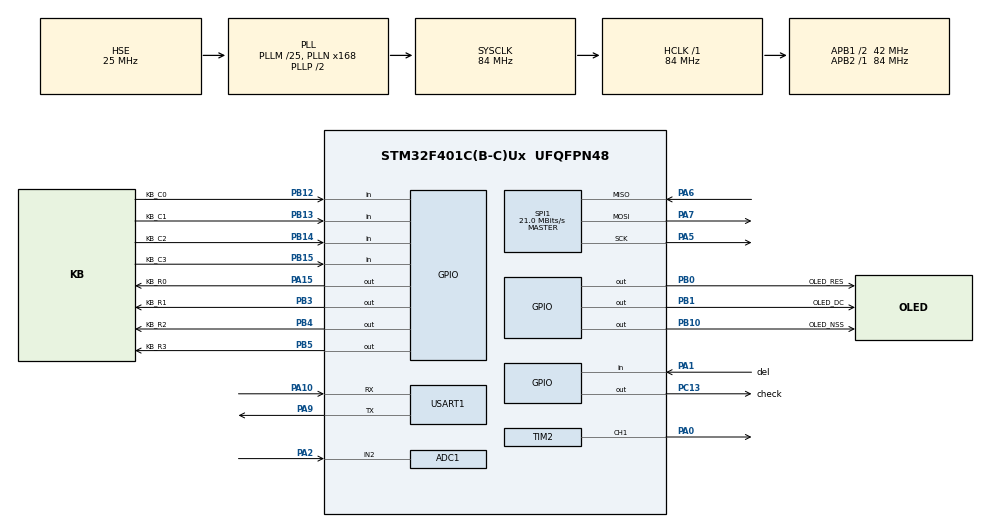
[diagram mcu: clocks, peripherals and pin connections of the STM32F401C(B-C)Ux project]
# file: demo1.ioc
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ADC1.Channel-0\#ChannelRegularConversion=ADC_CHANNEL_2
ADC1.ContinuousConvMode=DISABLE
ADC1.DMAContinuousRequests=ENABLE
ADC1.DiscontinuousConvMode=DISABLE
ADC1.EOCSelection=ADC_EOC_SINGLE_CONV
ADC1.ExternalTrigConv=ADC_EXTERNALTRIGCONV_T2_TRGO
ADC1.NbrOfConversion=1
ADC1.NbrOfConversionFlag=1
ADC1.Rank-0\#ChannelRegularConversion=1
ADC1.SamplingTime-0\#ChannelRegularConversion=ADC_SAMPLETIME_15CYCLES
ADC1.ScanConvMode=ENABLE
ADC1.master=1
Dma.ADC1.0.Direction=DMA_PERIPH_TO_MEMORY
Dma.ADC1.0.FIFOMode=DMA_FIFOMODE_DISABLE
Dma.ADC1.0.Instance=DMA2_Stream0
Dma.ADC1.0.MemDataAlignment=DMA_MDATAALIGN_WORD
Dma.ADC1.0.MemInc=DMA_MINC_ENABLE
Dma.ADC1.0.Mode=DMA_CIRCULAR
Dma.ADC1.0.PeriphDataAlignment=DMA_PDATAALIGN_WORD
Dma.ADC1.0.PeriphInc=DMA_PINC_DISABLE
Dma.ADC1.0.Priority=DMA_PRIORITY_HIGH
Dma.Request0=ADC1
Mcu.Family=STM32F4
Mcu.Name=STM32F401C(B-C)Ux
Mcu.Package=UFQFPN48
NVIC.DMA2_Stream0_IRQn=true\:0\:0\:true\:false\:true\:false\:true\:true
NVIC.PriorityGroup=NVIC_PRIORITYGROUP_4
NVIC.USART1_IRQn=true\:14\:0\:true\:false\:true\:true\:true\:true
PA0-WKUP.Signal=S_TIM2_CH1_ETR
PA1.GPIO_Label=del
PA1.GPIO_PuPd=GPIO_PULLUP
PA1.Signal=GPIO_Input
PA10.Mode=Asynchronous
PA10.Signal=USART1_RX
PA15.GPIO_Label=KB_R0
PA15.Signal=GPIO_Output
PA2.Signal=ADCx_IN2
PA5.Mode=Full_Duplex_Master
PA5.Signal=SPI1_SCK
PA6.Mode=Full_Duplex_Master
PA6.Signal=SPI1_MISO
PA7.Mode=Full_Duplex_Master
PA7.Signal=SPI1_MOSI
PA9.Mode=Asynchronous
PA9.Signal=USART1_TX
PB0.GPIO_Label=OLED_RES
PB0.Signal=GPIO_Output
PB1.GPIO_Label=OLED_DC
PB1.Signal=GPIO_Output
PB10.GPIO_Label=OLED_NSS
PB10.Signal=GPIO_Output
PB12.GPIO_Label=KB_C0
PB12.GPIO_PuPd=GPIO_PULLDOWN
PB12.Signal=GPIO_Input
PB13.GPIO_Label=KB_C1
PB13.GPIO_PuPd=GPIO_PULLDOWN
PB13.Signal=GPIO_Input
PB14.GPIO_Label=KB_C2
PB14.GPIO_PuPd=GPIO_PULLDOWN
PB14.Signal=GPIO_Input
PB15.GPIO_Label=KB_C3
PB15.GPIO_PuPd=GPIO_PULLDOWN
PB15.Signal=GPIO_Input
PB3.GPIO_Label=KB_R1
PB3.Signal=GPIO_Output
PB4.GPIO_Label=KB_R2
PB4.Signal=GPIO_Output
PB5.GPIO_Label=KB_R3
PB5.Signal=GPIO_Output
PC13-ANTI_TAMP.GPIO_Label=check
PC13-ANTI_TAMP.Signal=GPIO_Output
PH0\ -\ OSC_IN.Mode=HSE-External-Oscillator
PH0\ -\ OSC_IN.Signal=RCC_OSC_IN
PH1\ -\ OSC_OUT.Mode=HSE-External-Oscillator
PH1\ -\ OSC_OUT.Signal=RCC_OSC_OUT
ProjectManager.HeapSize=0x800
ProjectManager.StackSize=0x800
ProjectManager.TargetToolchain=STM32CubeIDE
RCC.48MHZClocksFreq_Value=42000000
RCC.AHBFreq_Value=84000000
RCC.APB1CLKDivider=RCC_HCLK_DIV2
RCC.APB1Freq_Value=42000000
RCC.APB1TimFreq_Value=84000000
RCC.APB2Freq_Value=84000000
RCC.APB2TimFreq_Value=84000000
RCC.CortexFreq_Value=84000000
RCC.HCLKFreq_Value=84000000
RCC.HSE_VALUE=25000000
RCC.HSI_VALUE=16000000
RCC.LSE_VALUE=32768
RCC.PLLM=25
RCC.PLLN=168
RCC.PLLSourceVirtual=RCC_PLLSOURCE_HSE
RCC.SYSCLKFreq_VALUE=84000000
RCC.SYSCLKSource=RCC_SYSCLKSOURCE_PLLCLK
RCC.VCOOutputFreq_Value=168000000
SH.ADCx_IN2.0=ADC1_IN2,IN2
SH.S_TIM2_CH1_ETR.0=TIM2_CH1,PWM Generation1 CH1
SPI1.BaudRatePrescaler=SPI_BAUDRATEPRESCALER_4
SPI1.CLKPhase=SPI_PHASE_2EDGE
SPI1.CLKPolarity=SPI_POLARITY_HIGH
SPI1.CalculateBaudRate=21.0 MBits/s
SPI1.Direction=SPI_DIRECTION_2LINES
SPI1.Mode=SPI_MODE_MASTER
SPI1.VirtualType=VM_MASTER
TIM2.AutoReloadPreload=TIM_AUTORELOAD_PRELOAD_ENABLE
TIM2.Channel-PWM\ Generation1\ CH1=TIM_CHANNEL_1
TIM2.Period=(84000/50)-1
TIM2.TIM_MasterOutputTrigger=TIM_TRGO_UPDATE
USART1.VirtualMode=VM_ASYNC
VP_TIM2_VS_ClockSourceINT.Mode=Internal
board=custom

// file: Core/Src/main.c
/* USER CODE BEGIN Header */

/**
  ******************************************************************************
  * @file           : main.c
  * @brief          : Main program body
  ******************************************************************************
  * @attention
  *
  * <h2><center>&copy; Copyright (c) 2021 STMicroelectronics.
  * All rights reserved.</center></h2>
  *
  * This software component is licensed by ST under BSD 3-Clause license,
  * the "License"; You may not use this file except in compliance with the
  * License. You may obtain a copy of the License at:
  *                        opensource.org/licenses/BSD-3-Clause
  *
  ******************************************************************************
  */
/* USER CODE END Header */
#include "main.h"
#include "adc.h"
#include "dma.h"
#include "spi.h"
#include "tim.h"
#include "usart.h"
#include "gpio.h"

/* USER CODE BEGIN Includes */
#include"u8g2.h"
#include <stdio.h>
#include<math.h>
#include <string.h>
#include <stdlib.h>
#include "uart_console.h"
/* USER CODE END Includes */

/* USER CODE BEGIN PV */
char rx_data[1000];
float sampleRate=11.851f,debug_duty=50;
volatile config_t config={
        .isConsoleEnable=1,
        .isPIDPrint=1,
        .isDebugPWM=0
};
uint32_t ADC_Value[10] = {0};
float duty = 0;
float V_cur = 0, V_set = 0;
u8g2_t u8g2;
//buffer starts
uint8_t first[14] = {0};
uint8_t second[14] = {0};
uint8_t resault[14] = {0};
char menu[16][2] = {
        "7", "8", "9", "/",
        "4", "5", "6", "x",
        "1", "2", "3", "-",
        "0", ".", "=", "+"
};
char sign[2];
uint8_t line = 1;
uint8_t model = 1;
uint8_t state = 1;
typedef enum {
    M_input = 1,
    M_output
} Mode;
int isOutput = 0;
//state表：
//  输入  1
//   +    2
//   -    3
//   x    4
//   /    5
//  输出  6
/* USER CODE END PV */

void SystemClock_Config(void);
/* USER CODE BEGIN PFP */
int UART_printf(UART_HandleTypeDef *huart, const char *fmt, ...);

uint8_t u8x8_stm32_gpio_and_delay(U8X8_UNUSED u8x8_t *u8x8,
                                  U8X8_UNUSED uint8_t msg,
                                  U8X8_UNUSED uint8_t arg_int,
                                  U8X8_UNUSED void *arg_ptr);

uint8_t u8x8_byte_4wire_hw_spi(u8x8_t *u8x8, uint8_t msg, uint8_t arg_int, void *arg_ptr);

char *strcat(char *destination, const char *source);

/* USER CODE END PFP */

/* USER CODE BEGIN 0 */
typedef struct {
    GPIO_TypeDef *GPIOx;
    uint16_t GPIO_Pin;
} GPIO_Pin_TypeDef;

GPIO_Pin_TypeDef keyboardRow[] = {
        {KB_R3_GPIO_Port, KB_R3_Pin},
        {KB_R2_GPIO_Port, KB_R2_Pin},
        {KB_R1_GPIO_Port, KB_R1_Pin},
        {KB_R0_GPIO_Port, KB_R0_Pin},
};

GPIO_Pin_TypeDef keyboardCol[] = {
        {KB_C3_GPIO_Port, KB_C3_Pin},
        {KB_C2_GPIO_Port, KB_C2_Pin},
        {KB_C1_GPIO_Port, KB_C1_Pin},
        {KB_C0_GPIO_Port, KB_C0_Pin},
};

uint32_t KeyboardScan(void) {
    uint32_t result = 0;
    for (int row = 0; row < sizeof(keyboardRow) / sizeof(GPIO_Pin_TypeDef); row++) {
        HAL_GPIO_WritePin(keyboardRow[row].GPIOx, keyboardRow[row].GPIO_Pin, GPIO_PIN_SET);
        for (int col = 0; col < sizeof(keyboardCol) / sizeof(GPIO_Pin_TypeDef); col++) {
            result <<= 1;
            result |= HAL_GPIO_ReadPin(keyboardCol[col].GPIOx, keyboardCol[col].GPIO_Pin) == GPIO_PIN_SET;
        }
        HAL_GPIO_WritePin(keyboardRow[row].GPIOx, keyboardRow[row].GPIO_Pin, GPIO_PIN_RESET);
    }

    return result;
}

//u8g2相关内容

void frame(u8g2_t *u8g2, uint8_t Vset_buf[], uint8_t Vout_buf[], float Vset, int model);

void frameutf8(u8g2_t *u8g2, uint8_t first[], uint8_t second[], uint8_t out[]);

uint8_t decode(uint16_t data, uint8_t pos);

void operate(uint8_t *first) {
    uint32_t index = KeyboardScan();

    while (KeyboardScan()) {

    }
    for (int i = 0; i < 16; i++) {
        if (index & (1 << i)) {
            strcat(first, menu[i]);
        }
    }

}

void countmodel(uint8_t *buffer) {
    int i = 0;
    while (buffer[i++]) {
        if (buffer[i] == '.')
            model = _float;
    }
}

int str2value_int(uint8_t *buffer) {
    int len = 0;
    int sum = 0;
    int i = 0;
    while (buffer[i++]) {

        sum = sum * 10 + buffer[i - 1] - '0';

    }
    return sum;
}

void value2str_int(uint8_t *buffer, int value) {
    int m, len = 0;
    if (value >= 0) {
        do {
            m = value % 10;
            len = 0;
            while (buffer[len++]);
            len--;
            for (; len > 0; len--) {
                buffer[len] = buffer[len - 1];
            }
            buffer[0] = m + '0';
            value /= 10;

        } while (value);
    } else {
        value = -value;
        do {
            m = value % 10;
            len = 0;
            while (buffer[len++]);
            len--;
            for (; len > 0; len--) {
                buffer[len] = buffer[len - 1];
            }
            buffer[0] = m + '0';
            value /= 10;

        } while (value);
        len = 0;
        while (buffer[len++]);
        len--;
        for (; len > 0; len--) {
            buffer[len] = buffer[len - 1];
        }
        buffer[0] = '-';

    }

}

//copy de demo
float str2value_float(char *num) {

    double n = 0, sign = 1, scale = 0;
    int subscale = 0, signsubscale = 1;

    if (*num == '-') {
        sign = -1, num++;    /* Has sign? */
    }

    while (*num == '0') {
        num++;
    }

    if (*num >= '1' && *num <= '9') {
        do {
            n = (n * 10.0) + (*num++ - '0');
        } while (*num >= '0' && *num <= '9');    /* Number? */
    }

    if (*num == '.' && num[1] >= '0' && num[1] <= '9') {
        num++;
        do {
            n = (n * 10.0) + (*num++ - '0'), scale--;
        } while (*num >= '0' && *num <= '9');
    }    /* Fractional part? */

    if (*num == 'e' || *num == 'E') {    /* Exponent? */
        num++;
        if (*num == '+') {
            num++;
        } else if (*num == '-') {
            signsubscale = -1, num++;        /* With sign? */
        }

        while (*num >= '0' && *num <= '9') {
            subscale = (subscale * 10) + (*num++ - '0');    /* Number? */
        }
    }

    n = sign * n *
        pow(10.0, (scale + subscale * signsubscale));    /* number = +/- number.fraction * 10^ +/- exponent */

    return n;
}

void value2str_float(char *buffer, float slope)  //浮点型数，存储的字符数组，字符数组的长度
{
    // buffer[0]=' ';
    int n = 13;
    int temp, i, j;
    if (slope < 0) {
        buffer[0] = '-';
        slope = -slope;
    }
    temp = (int) slope;//取整数部�?
    for (i = 0; temp != 0; i++)//计算整数部分的位�?
        temp /= 10;
    temp = (int) slope;

    for (j = i; j >= 0; j--)//将整数部分转换成字符串型
    {
        buffer[j] = temp % 10 + '0';
        temp /= 10;
    }

    buffer[i + 1] = '.';
    slope -= (int) slope;
    for (i = i + 2; i < n - 1; i++)//将小数部分转换成字符串型
    {
        slope *= 10;
        buffer[i] = (int) slope + '0';
        slope -= (int) slope;
    }
    buffer[n - 1] = '\0';
}

int iffloat(uint8_t *buffer) {
    int flag = 1, i = 0;
    while (buffer[i]) {
        if (buffer[i] == '.')
            flag = 0;
        i++;
    }

    return flag;
}

void del_key(uint8_t *buffer) {
    int i = 0;
    while (buffer[i++]);
    i--;
    if (i > 0)
        buffer[i - 1] = 0;
}

int getKeyboardIndex() {

//************uniform model select***********************

    int keyboard = KeyboardScan();

    for (int i = 0; i < 16; i++) {
        if (keyboard & (1 << i)) {
            return i;
        }
    }
//***************************************************************
}

int readline(char *line) {
    uint32_t index = KeyboardScan();

    while (KeyboardScan()) {

    }
    for (int i = 0; i < 16; i++) {
        if (index & (1 << i)) {
            strcat(line, menu[i]);
        }
    }

    if (!HAL_GPIO_ReadPin(del_GPIO_Port, del_Pin)) {
        while (!HAL_GPIO_ReadPin(del_GPIO_Port, del_Pin)) {

        }

        del_key(line);

    }
}

#define CLAMP(x, max, min) ((x < max) ? ((x > min) ? x : min) : max)
typedef struct {
    float A0;       /**< The derived gain, A0 = Kp + Ki + Kd . */
    float A1;       /**< The derived gain, A1 = -Kp - 2Kd. */
    float A2;       /**< The derived gain, A2 = Kd . */
    float state[3]; /**< The state array of length 3. */
    float Kp;       /**< The proportional gain. */
    float Ki;       /**< The integral gain. */
    float Kd;       /**< The derivative gain. */
} PID_t;

volatile PID_t pid_o_Vol = {
        .Kp = 0.5,
        .Ki = 0.005,
        .Kd = 0.00};

void pid_init(PID_t *S) {
    /* Derived coefficient A0 */
    S->A0 = S->Kp + S->Ki + S->Kd;
    /* Derived coefficient A1 */
    S->A1 = (-S->Kp) - ((float) 2.0f * S->Kd);
    /* Derived coefficient A2 */
    S->A2 = S->Kd;
}

float pid_process_o_Vol(PID_t *S, float aim, float current, float out_max, float out_min) {
    pid_init(S);
    float out;
    float in = aim - current;
    /* u[t] = u[t - 1] + A0 * e[t] + A1 * e[t - 1] + A2 * e[t - 2]  */
    out = (S->A0 * in) +
          (S->A1 * S->state[0]) + (S->A2 * S->state[1]) + (S->state[2]);
    /* Update state */
    S->state[1] = S->state[0];
    S->state[0] = in;
    S->state[2] = out;
    out = CLAMP(out, out_max, out_min);
    /* return to application */
    return (out);
}
int cmd_setPID(char *args){
#define  printf(...) UART_printf(&huart1,__VA_ARGS__)
    // paras
    char *arg1 = strtok(NULL, " ");
    if (arg1 == NULL)
    {
        printf("Usage: setPID kp ki kd (Vset)\n");
        return 0;
    }
    float kp = atoff(arg1);

    char *arg2 = strtok(NULL, " ");
    if (arg2 == NULL)
    {
        printf("Usage: setPID kp ki kd (Vset)\n");
        return -1;
    }
    float ki = atoff(arg2);

    char *arg3 = strtok(NULL, " ");
    if (arg3 == NULL)
    {
        printf("Usage: setPID kp ki kd (Vset)\n");
        return -1;
    }

    float kd = atoff(arg3);

    char *arg4 = strtok(NULL, " ");
    if (arg4 == NULL)
    {

    } else{

        float pid_aim = atoff(arg4);
        V_set=pid_aim;
    }

    pid_o_Vol.Kp=kp;
    pid_o_Vol.Kd=kd;
    pid_o_Vol.Ki=ki;
    printf("PID:kp=%f ki=%f kd=%f V_set=%.2f\n",pid_o_Vol.Kp,pid_o_Vol.Ki,pid_o_Vol.Kd,V_set);
    // do with addr&N

    return 0;
}
int cmd_systemctl(char *args){
    // paras
    int func_en=1;
    char *arg1 = strtok(NULL, " ");
    if (arg1 == NULL)
    {
        printf("Usage: systemctl enable/disable <func>\n");
        printf("<func>:\n"
               "    int isPIDPrint;\n"
               "    int isConsoleEnable;\n"
               "    int isDebugPWM;\n"
        );
        return 0;
    }
    //printf(arg1);
    if(strcmp(arg1,"enable")==0){
        func_en=1;
    } else if(strcmp(arg1,"disable")==0){
        func_en=0;
    } else{
        printf("Usage: systemctl enable/disable <func>\n");
        return -1;
    }
    //printf("func_en=%d\n",func_en);
    char *arg2 = strtok(NULL, " ");
    if (arg2 == NULL)
    {
        printf("Usage: systemctl enable/disable <func>\n");
        return -1;
    }

    if(strcmp(arg2,"PIDPrint")==0){
        if(func_en==1){
            config.isPIDPrint=1;
        } else{
            config.isPIDPrint=0;
        }
        return 0;
    }
    if(strcmp(arg2,"DebugPWM")==0){
        if(func_en==1){
            config.isDebugPWM=1;

            char *arg3 = strtok(NULL, " ");
            if (arg3 == NULL)
            {

            } else{
                debug_duty = atoff(arg3);
            }
        } else{
            config.isDebugPWM=0;
        }
        printf("config.isDebugPWM=%s",(config.isDebugPWM)?"true":"false");
        return 0;
    }

    printf("arg %s is not found\n",arg2);
    return -1;

}
int cmd_setSampleRate(char *args){
    // paras
    char *arg1 = strtok(NULL, " ");
    if (arg1 == NULL)
    {
        printf("Usage: setSampleRate <rate> (Vol=Vin*rate)\n");
        return 0;
    }
    float rate = atoff(arg1);
    sampleRate=rate;
    printf("sampleRate=%f\nVol=%.3f*Vin\n",sampleRate,sampleRate);
}
void HAL_ADC_ConvCpltCallback(ADC_HandleTypeDef *hadc) {
    V_cur = (float) ADC_Value[0] * 3.3f / 4096.0f *sampleRate;
    duty = (config.isDebugPWM)?(debug_duty):pid_process_o_Vol(&pid_o_Vol, V_set, V_cur, 95, 1);
    TIM2->CCR1 = (uint32_t)(((float) (TIM2->ARR + 1)) * duty/100.0f - 1.0f);
}
//空闲中断回调函数，参数Size为串口实际接收到数据字节数
void HAL_UARTEx_RxEventCallback(UART_HandleTypeDef *huart, uint16_t Size)
{
    if(huart->Instance==USART1)
    {
        //把收到的一包数据通过串口回传
        rx_data[Size]=0;
        UART_Console(rx_data);
        HAL_UART_Transmit(&huart1,rx_data,Size,0xff);

        //再次开启空闲中断接收，不然只会接收一次数据
        HAL_UARTEx_ReceiveToIdle_IT(&huart1,rx_data,1000);
    }
}
/* USER CODE END 0 */

int main(void)
{

  /* MCU Configuration--------------------------------------------------------*/

  /* Reset of all peripherals, Initializes the Flash interface and the Systick. */
  HAL_Init();

  /* Configure the system clock */
  SystemClock_Config();

  /* Initialize all configured peripherals */
  MX_GPIO_Init();
  MX_DMA_Init();
  MX_SPI1_Init();
  MX_USART1_UART_Init();
  MX_ADC1_Init();
  MX_TIM2_Init();
  /* USER CODE BEGIN 2 */
    u8g2_Setup_ssd1306_128x64_noname_f(&u8g2, U8G2_R0, u8x8_byte_4wire_hw_spi, u8x8_stm32_gpio_and_delay);
    u8g2_InitDisplay(&u8g2);
    u8g2_SetPowerSave(&u8g2, 0);
    HAL_TIM_Base_Start_IT(&htim2);
    HAL_TIM_PWM_Start(&htim2, TIM_CHANNEL_1);
    HAL_ADC_Start_DMA(&hadc1, (uint32_t *) ADC_Value, 1);
  /* USER CODE END 2 */

  /* Infinite loop */
  /* USER CODE BEGIN WHILE */
    HAL_GPIO_WritePin(check_GPIO_Port, check_Pin, 1);
    HAL_UARTEx_ReceiveToIdle_IT(&huart1,rx_data,1000);
    while (1) {
        //HAL_UART_Transmit(&huart1,"hhh",3,HAL_MAX_DELAY);
    /* USER CODE END WHILE */

    /* USER CODE BEGIN 3 */
        int keyboard = getKeyboardIndex();

        fsm_stateDirection:
        if (model == M_input) {
            if (menu[keyboard][0] == '=') {
                while (KeyboardScan()) {

                }
                V_set = str2value_float(first);
                first[0] = 0;
                model = M_output;
                goto display;
            }
        }
        if (model == M_output) {
            if (menu[keyboard][0] == '=') {
                while (KeyboardScan()) {

                }
                first[0] = 0;
                model = M_input;
                goto display;
            }
        }

        fsm_process:
        if (model == M_input)
            readline(first);

        else if (model == M_output) {

        }

//else if(state);

        display:
        if(config.isPIDPrint) {
            UART_printf(&huart1, "V:%f,%f,%.2f\n", V_set, V_cur, duty);
        }
        char V_cur_buf[200];

        static int tik_tok = 0;

        if(tik_tok){
            sprintf(V_cur_buf, "Vout:%.2fV", V_cur);
            tik_tok=0;
        }

        static uint32_t tickstart = 0;
        if ((HAL_GetTick() - tickstart) < 500) {
        } else {
            tickstart = HAL_GetTick();
            tik_tok = 1;
        }

        frame(&u8g2, first, V_cur_buf, V_set, model);

    }
  /* USER CODE END 3 */
}

void SystemClock_Config(void)
{
  RCC_OscInitTypeDef RCC_OscInitStruct = {0};
  RCC_ClkInitTypeDef RCC_ClkInitStruct = {0};

  /** Configure the main internal regulator output voltage
  */
  __HAL_RCC_PWR_CLK_ENABLE();
  __HAL_PWR_VOLTAGESCALING_CONFIG(PWR_REGULATOR_VOLTAGE_SCALE2);

  /** Initializes the RCC Oscillators according to the specified parameters
  * in the RCC_OscInitTypeDef structure.
  */
  RCC_OscInitStruct.OscillatorType = RCC_OSCILLATORTYPE_HSE;
  RCC_OscInitStruct.HSEState = RCC_HSE_ON;
  RCC_OscInitStruct.PLL.PLLState = RCC_PLL_ON;
  RCC_OscInitStruct.PLL.PLLSource = RCC_PLLSOURCE_HSE;
  RCC_OscInitStruct.PLL.PLLM = 25;
  RCC_OscInitStruct.PLL.PLLN = 168;
  RCC_OscInitStruct.PLL.PLLP = RCC_PLLP_DIV2;
  RCC_OscInitStruct.PLL.PLLQ = 4;
  if (HAL_RCC_OscConfig(&RCC_OscInitStruct) != HAL_OK)
  {
    Error_Handler();
  }

  /** Initializes the CPU, AHB and APB buses clocks
  */
  RCC_ClkInitStruct.ClockType = RCC_CLOCKTYPE_HCLK|RCC_CLOCKTYPE_SYSCLK
                              |RCC_CLOCKTYPE_PCLK1|RCC_CLOCKTYPE_PCLK2;
  RCC_ClkInitStruct.SYSCLKSource = RCC_SYSCLKSOURCE_PLLCLK;
  RCC_ClkInitStruct.AHBCLKDivider = RCC_SYSCLK_DIV1;
  RCC_ClkInitStruct.APB1CLKDivider = RCC_HCLK_DIV2;
  RCC_ClkInitStruct.APB2CLKDivider = RCC_HCLK_DIV1;

  if (HAL_RCC_ClockConfig(&RCC_ClkInitStruct, FLASH_LATENCY_2) != HAL_OK)
  {
    Error_Handler();
  }
}

/* USER CODE BEGIN 4 */
#include <stdio.h>
#include <stdarg.h>

int UART_printf(UART_HandleTypeDef *huart, const char *fmt, ...) {
    va_list ap;
    va_start(ap, fmt);

    int length;
    char buffer[128];

    length = vsnprintf(buffer, 128, fmt, ap);

    HAL_UART_Transmit(huart, (uint8_t *) buffer, length, HAL_MAX_DELAY);

    va_end(ap);
    return length;
}

uint8_t u8x8_stm32_gpio_and_delay(U8X8_UNUSED u8x8_t *u8x8,
                                  U8X8_UNUSED uint8_t msg,
                                  U8X8_UNUSED uint8_t arg_int,
                                  U8X8_UNUSED void *arg_ptr) {
    switch (msg) {
        case U8X8_MSG_GPIO_AND_DELAY_INIT:
            HAL_Delay(1);
            break;
        case U8X8_MSG_DELAY_MILLI:
            HAL_Delay(arg_int);
            break;
        case U8X8_MSG_GPIO_DC:
            HAL_GPIO_WritePin(OLED_DC_GPIO_Port, OLED_DC_Pin, arg_int);
            break;
        case U8X8_MSG_GPIO_RESET:
            HAL_GPIO_WritePin(OLED_RES_GPIO_Port, OLED_RES_Pin, arg_int);
            break;
    }
    return 1;
}

uint8_t u8x8_byte_4wire_hw_spi(u8x8_t *u8x8, uint8_t msg, uint8_t arg_int, void *arg_ptr) {
    switch (msg) {
        case U8X8_MSG_BYTE_SEND:
            HAL_SPI_Transmit(&hspi1, (uint8_t *) arg_ptr, arg_int, HAL_MAX_DELAY);
            break;
        case U8X8_MSG_BYTE_INIT:
            break;
        case U8X8_MSG_BYTE_SET_DC:
            HAL_GPIO_WritePin(OLED_DC_GPIO_Port, OLED_DC_Pin, arg_int);
            break;
        case U8X8_MSG_BYTE_START_TRANSFER:
            HAL_GPIO_WritePin(OLED_NSS_GPIO_Port, OLED_NSS_Pin, GPIO_PIN_RESET);
            break;
        case U8X8_MSG_BYTE_END_TRANSFER:
            HAL_GPIO_WritePin(OLED_NSS_GPIO_Port, OLED_NSS_Pin, GPIO_PIN_SET);
            break;
        default:
            return 0;
    }
    return 1;
}

char *strcat(char *destination, const char *source) {
    int i = 0;
    while (destination[i] != '\0')
        i++;
    while (*source != '\0')
        destination[i++] = *(source++);
    *(destination + i) = '\0';
    return (destination);
}

void frameutf8(u8g2_t *u8g2, uint8_t first[], uint8_t second[], uint8_t out[]) {
    int len = strlen(out);
//    u8g2_FirstPage(u8g2);
//    do
//    {
//        u8g2_SetFont(u8g2, u8g2_font_courR12_tf);
//        u8g2_DrawStr(u8g2, 0, 15, first);
//        u8g2_DrawStr(u8g2, 0, 30, second);
//        u8g2_DrawStr(u8g2, 128-len*10, 50, out);
//        u8g2_DrawLine(u8g2,0, 32, 128, 32);
//
//
//    } while (u8g2_NextPage(u8g2));

    u8g2_FirstPage(u8g2);
    u8g2_ClearBuffer(u8g2);
    do {

        u8g2_SetFont(u8g2, u8g2_font_unifont_t_symbols);
        u8g2_DrawUTF8(u8g2, 0, 15, first);
        u8g2_DrawUTF8(u8g2, 0, 30, second);
        u8g2_DrawUTF8(u8g2, 128 - len * 10, 50, out);
        u8g2_DrawLine(u8g2, 0, 32, 128, 32);
    } while (u8g2_NextPage(u8g2));
}

void frame(u8g2_t *u8g2, uint8_t Vset_buf[], uint8_t Vout_buf[], float Vset, int model) {
    static int tik_tok = 0;
    char tmp[200];
    int len = strlen(Vset_buf);
    u8g2_FirstPage(u8g2);
    do {
        u8g2_SetFont(u8g2, u8g2_font_courR12_tf);
        u8g2_DrawStr(u8g2, 0, 15, "Vset:");
        //Vset
        sprintf(tmp, "%.2fV", Vset);
        u8g2_DrawStr(u8g2, 50, 15, tmp);
        u8g2_DrawStr(u8g2, 0, 30, Vout_buf);
        u8g2_DrawStr(u8g2, 128 - len * 10, 50, Vset_buf);
        //u8g2_DrawStr(u8g2, 0, 50, sign);
        if (!tik_tok && model == M_input)
            //u8g2_DrawLine(u8g2, 0, 32, 128, 32);
            u8g2_DrawRFrame(u8g2, 0, 32, 128, 23, 3);

        static uint32_t tickstart = 0;
        if ((HAL_GetTick() - tickstart) < 800) {
        } else {
            tickstart = HAL_GetTick();
            tik_tok = !tik_tok;
        }
    } while (u8g2_NextPage(u8g2));
}

uint8_t decode(uint16_t data, uint8_t pos) {
    return data & (1 << pos);
//    return 1&(data>>(pos));
}
/* USER CODE END 4 */

void Error_Handler(void)
{
    __disable_irq();
    while (1) {
    }
}
